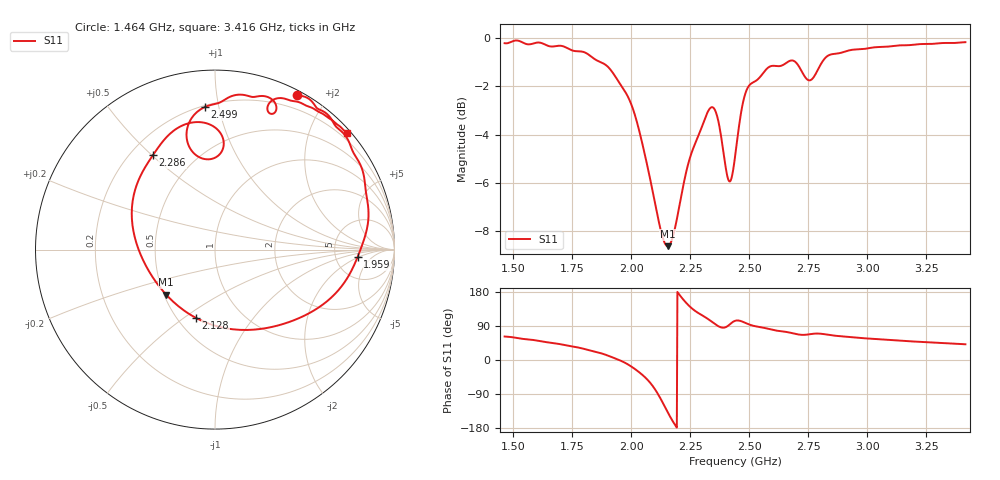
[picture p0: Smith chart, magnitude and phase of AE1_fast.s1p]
! AE1 openEMS fast: lumped port at the feed pad (vertical F.Cu -> B.Cu), not de-embedded
# Hz S RI R 50
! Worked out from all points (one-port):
!   801 points, 1.464 GHz to 3.416 GHz, reference 50 ohm
!   lowest |S11| = -8.6 dB at 2.155 GHz (marker M1), VSWR 2.18, Z = 25.7 - j14.9 ohm
!   |S11| at or under -10 dB: nowhere
!   S11 on the Smith chart (normalised r, x): 1.464 GHz: 0.04, +1.66; 1.959 GHz: 8.40, -1.83; 2.128 GHz: 0.62, -0.56; 2.286 GHz: 0.29, +0.50; 2.499 GHz: 0.21, +0.91; 3.416 GHz: 0.07, +2.64
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1.464e9  0.4588 0.8623
1.5982e9  0.6083 0.7673
1.708e9  0.7311 0.6279
1.86172e9  0.8438 0.302
1.952e9  0.8059 -0.0121
1.95932e9  0.795 -0.0398
2.00812e9  0.668 -0.2475
2.05936e9  0.3965 -0.4091
2.09596e9  0.14 -0.4471
2.12768e9  -0.1048 -0.3811
2.15452e9  -0.2722 -0.2508
2.196e9  -0.4267 0.0032
2.23504e9  -0.4589 0.2697
2.28628e9  -0.3456 0.5267
2.3424e9  -0.1334 0.7069
2.38144e9  0.0435 0.6227
2.41316e9  -0.0139 0.5065
2.44e9  -0.1305 0.5514
2.4644e9  -0.1543 0.6772
2.49856e9  -0.057 0.7941
2.58396e9  0.1251 0.8626
2.684e9  0.2986 0.8482
2.74744e9  0.3183 0.756
2.78404e9  0.2927 0.7952
2.82308e9  0.3463 0.8427
2.928e9  0.4662 0.8219
3.172e9  0.6265 0.7372
3.416e9  0.7351 0.6506
